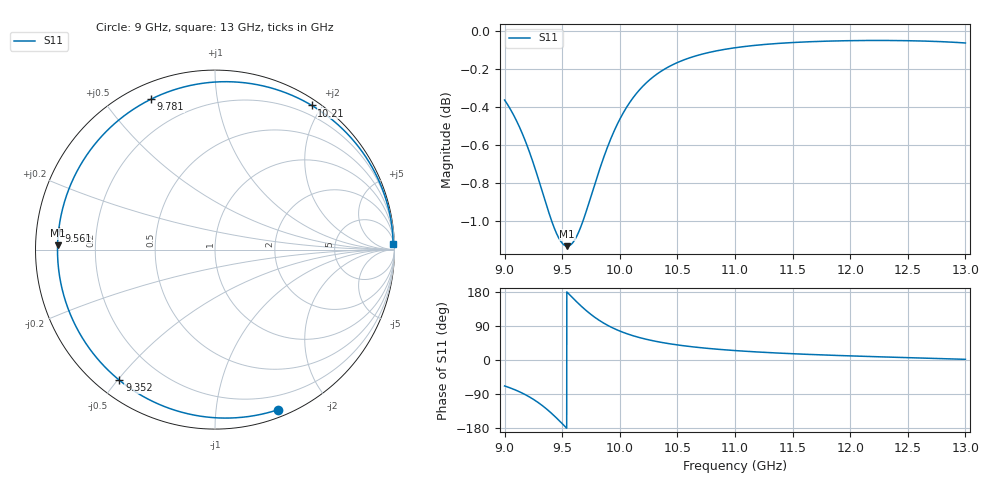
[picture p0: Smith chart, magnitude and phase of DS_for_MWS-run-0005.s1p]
! TOUCHSTONE file generated by CST DESIGN STUDIO
! Date and time: Tue Feb  4 18:31:33 2025
! Project name: C:\Work\MatlabApps\UnitCellOptimizationMatlab\CST\unitcell.cst
! Tree item: Tasks\Sweep1\SPara1\S-Parameters
! Header version: 2024
! Port assignment regex: !\s*Touchstone port\s*([0-9]+)\s*=\s*(CST MWS port|CST DES external port|CST DES block port)\s*(.+)\s* \(\"(.*)\"\)(\s*mode\s*([0-9]+))?.*
! Touchstone port assignment:
! Touchstone port 1 = CST DES external port 1 ("")
# GHz S MA R 50
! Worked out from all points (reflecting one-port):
!   4001 points, 9 GHz to 13 GHz, reference 50 ohm
!   lowest |S11| = -1.1 dB at 9.544 GHz (marker M1), VSWR 15.33, Z = 3.26 + j0.671 ohm
!   phase of S11 starts at -68 deg and turns -290 deg over the sweep
!   S11 on the Smith chart (normalised r, x): 9 GHz: 0.07, -1.47; 9.352 GHz: 0.06, -0.51; 9.561 GHz: 0.07, +0.06; 9.781 GHz: 0.07, +0.66; 10.21 GHz: 0.07, +1.87; 13 GHz: 15, +62
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9  0.9588 -68.5
9.099  0.9474 -79.8
9.208  0.9304 -96.2
9.284  0.9159 -110.7
9.352  0.9019 -126.2
9.422  0.8887 -144.8
9.463  0.8827 -156.7
9.5  0.8791 -167.9
9.544  0.8775 178.5
9.561  0.8778 173.2
9.615  0.8815 156.7
9.676  0.8903 139.1
9.728  0.9 125.5
9.781  0.9107 113.1
9.827  0.9198 103.6
9.878  0.9292 94.2
9.939  0.9392 84.6
10  0.9477 76.4
10.1  0.9587 65.5
10.21  0.9675 56.1
10.344  0.975 47.4
10.5  0.9808 39.8
10.721  0.9859 31.9
11  0.9896 24.9
11.5  0.9928 16.5
12  0.9939 10.8
12.5  0.9939 6.2
13  0.9925 1.8
